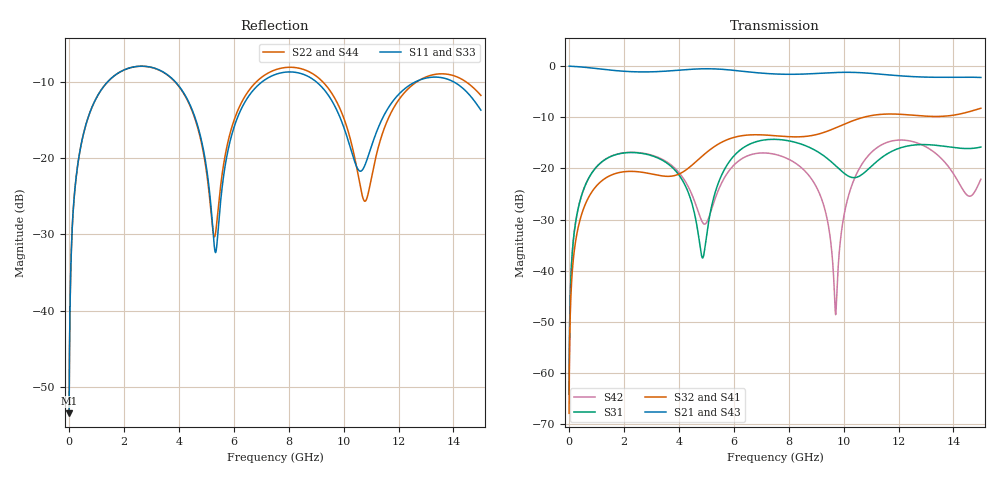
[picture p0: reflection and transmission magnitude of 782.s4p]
! Created with skrf 1.8.0 (http://scikit-rf.org).
# GHz S RI R 50.0
!freq ReS11 ImS11 ReS12 ImS12 ReS13 ImS13
! ReS14 ImS14
! ReS21 ImS21 ReS22 ImS22 ReS23 ImS23
! ReS24 ImS24
! ReS31 ImS31 ReS32 ImS32 ReS33 ImS33
! ReS34 ImS34
! ReS41 ImS41 ReS42 ImS42 ReS43 ImS43
! ReS44 ImS44
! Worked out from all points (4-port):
!   2499 points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, 5 MHz to 15 GHz, reference 50 ohm
!   strongest paths, dB at 5 MHz, 3.476 GHz, 7.19 GHz, 11.1 GHz, 15 GHz:
!     S21: 0.0, -1.0, -1.4, -1.5, -2.2
!     S43: 0.0, -1.0, -1.4, -1.5, -2.2
!     S32: -67.9, -21.5, -13.5, -9.6, -8.2
!     S41: -67.9, -21.5, -13.5, -9.6, -8.2
!     S31: -64.1, -18.6, -14.4, -19.2, -15.8
!     S42: -64.1, -18.5, -17.0, -16.4, -22.1
!   lowest |S11| = -53.4 dB at 5 MHz (marker M1), VSWR 1.00, Z = 50.2 + j0.13 ohm
!   |S11| at or under -10 dB: start of sweep to 1.417 GHz; 3.864 GHz to 7.045 GHz (3.18 GHz wide, 58.3 % of centre); 8.995 GHz to 12.64 GHz (3.643 GHz wide, 33.7 % of centre) (the widest 3 of 4)
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0.005  0.00169 0.00129  0.9983 -0.00329  8.31e-05 0.000616  -8.11e-05 -0.000395
       0.9983 -0.00329  0.00169 0.00129  -8.11e-05 -0.000395  8.32e-05 0.000616
       8.31e-05 0.000616  -8.11e-05 -0.000395  0.00169 0.00129  0.9983 -0.00329
       -8.11e-05 -0.000395  8.32e-05 0.000616  0.9983 -0.00329  0.00169 0.00129
1.569404  0.2859 0.1763  0.5198 -0.7476  0.1216 0.0521  -0.0866 -0.00206
          0.5198 -0.7476  0.2856 0.1764  -0.0867 -0.00201  0.1225 0.0509
          0.1216 0.0521  -0.0867 -0.00201  0.2858 0.1763  0.5198 -0.7475
          -0.0866 -0.00206  0.1225 0.0509  0.5198 -0.7475  0.2856 0.1764
5.158399  0.0272 -0.0431  -0.9296 -0.1468  0.0209 0.0322  -0.0211 0.1524
          -0.9296 -0.1468  0.0324 -0.0343  -0.0204 0.1525  -0.0277 0.0251
          0.0209 0.0322  -0.0204 0.1525  0.0273 -0.0421  -0.9297 -0.1467
          -0.0211 0.1524  -0.0277 0.0251  -0.9297 -0.1467  0.0319 -0.0334
8.15965  0.3649 -0.00548  -0.0178 0.8312  0.1207 -0.1364  0.1969 -0.0488
         -0.0178 0.8312  0.3902 -0.0348  0.1971 -0.0503  0.1131 -0.0277
         0.1207 -0.1364  0.1971 -0.0503  0.3657 -0.0039  -0.0185 0.8308
         0.1969 -0.0488  0.1131 -0.0277  -0.0185 0.8308  0.3913 -0.0356
9.710296  0.1684 -0.1306  0.6512 0.5703  -0.0696 -0.0803  0.1597 -0.1907
          0.6512 0.5703  0.1632 -0.1764  0.1577 -0.1925  0.00341 0.00148
          -0.0696 -0.0803  0.1577 -0.1925  0.1725 -0.1293  0.6498 0.5713
          0.1597 -0.1907  0.00341 0.00148  0.6498 0.5713  0.1621 -0.1794
11.1484  0.1133 0.0821  0.8313 -0.1356  0.0287 0.1094  -0.0721 -0.3254
         0.8313 -0.1356  0.0742 0.0618  -0.0753 -0.3241  0.096 0.121
         0.0287 0.1094  -0.0753 -0.3241  0.1176 0.078  0.832 -0.133
         -0.0721 -0.3254  0.096 0.121  0.832 -0.133  0.0685 0.0606
15  0.1914 -0.075  -0.5415 -0.5535  -0.1546 -0.0467  -0.2881 0.2587
    -0.5415 -0.5535  0.2259 -0.122  -0.2853 0.2617  -0.0687 0.0377
    -0.1546 -0.0467  -0.2853 0.2617  0.1882 -0.076  -0.5397 -0.5563
    -0.2881 0.2587  -0.0687 0.0377  -0.5397 -0.5563  0.2269 -0.1164
